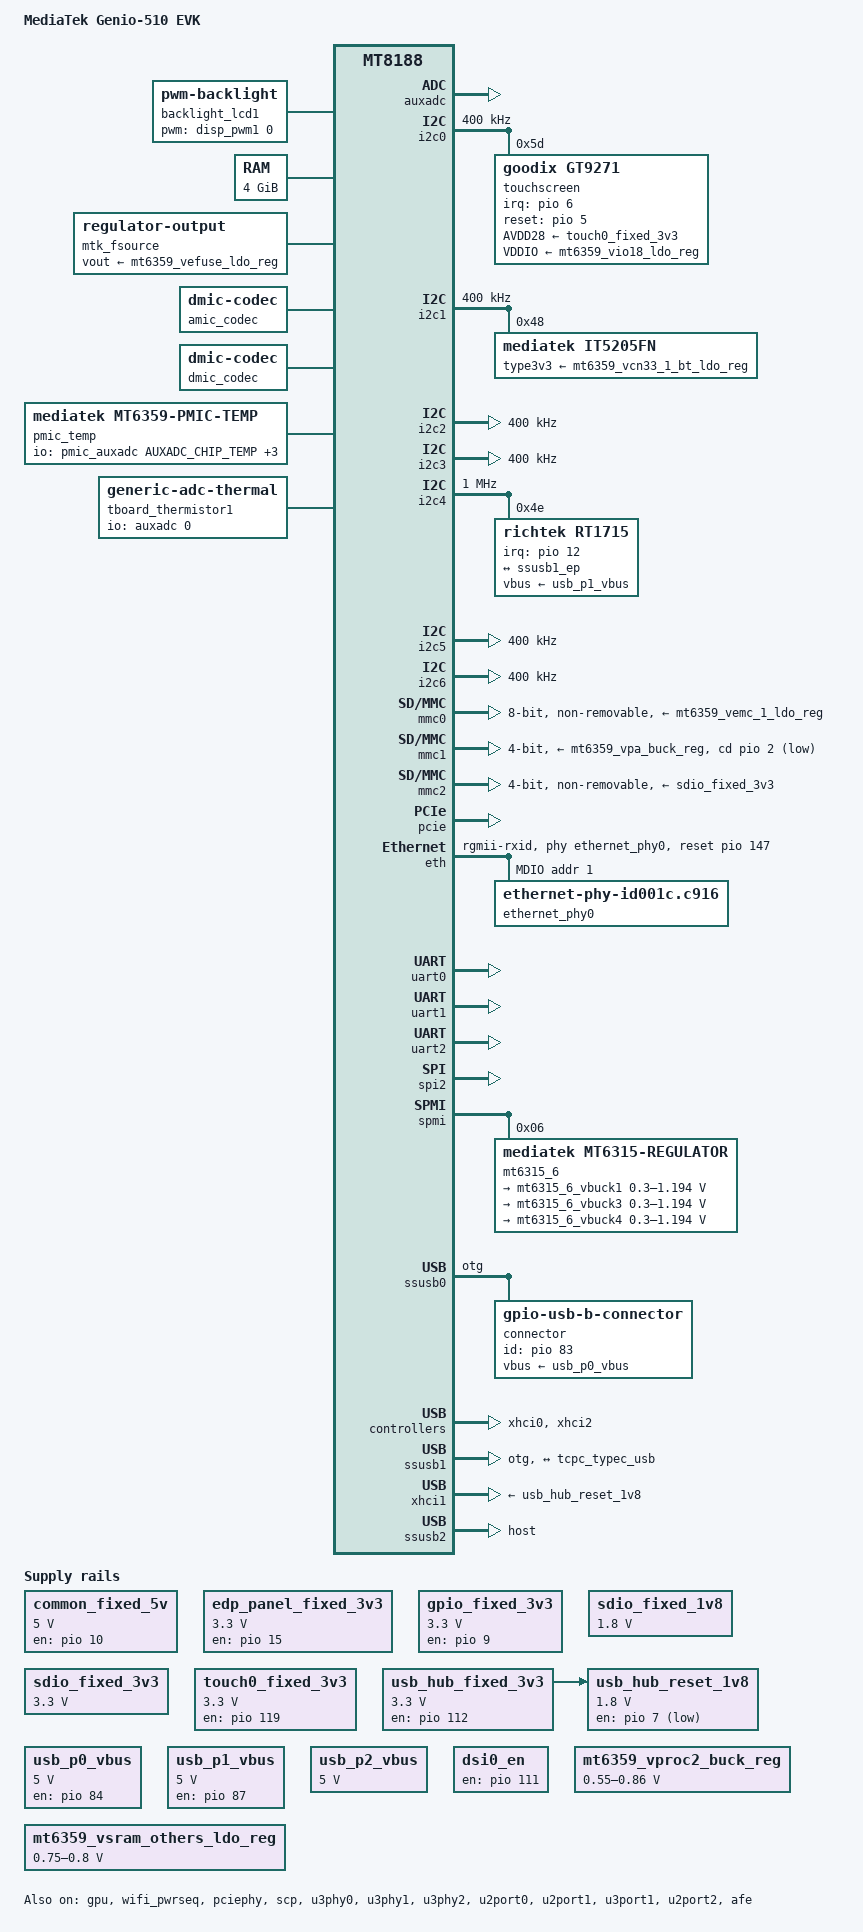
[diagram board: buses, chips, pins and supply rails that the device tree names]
// SPDX-License-Identifier: (GPL-2.0 OR MIT)
/*
 * Copyright (C) 2023 MediaTek Inc.
 * Author: Chris Chen <chris-qj.chen@mediatek.com>
 *	   Pablo Sun <pablo.sun@mediatek.com>
 *	   Macpaul Lin <macpaul.lin@mediatek.com>
 */
/dts-v1/;

#include "mt8370.dtsi"
#include "mt6359.dtsi"
#include <dt-bindings/gpio/gpio.h>
#include <dt-bindings/input/input.h>
#include <dt-bindings/interrupt-controller/irq.h>
#include <dt-bindings/pinctrl/mediatek,mt8188-pinfunc.h>
#include <dt-bindings/regulator/mediatek,mt6360-regulator.h>
#include <dt-bindings/spmi/spmi.h>
#include <dt-bindings/usb/pd.h>
#include <dt-bindings/iio/mt635x-auxadc.h>

/ {
	model = "MediaTek Genio-510 EVK";
	compatible = "mediatek,mt8370-evk", "mediatek,mt8370",
		     "mediatek,mt8188";

	aliases {
		ethernet0 = &eth;
		serial0 = &uart0;
		dsi0 = &dsi0;
	};

	backlight_lcd0: backlight-lcd0 {
		compatible = "pwm-backlight";
		pwms = <&disp_pwm0 0 500000>;
		enable-gpios = <&pio 8 GPIO_ACTIVE_HIGH>;
		brightness-levels = <0 1023>;
		num-interpolated-steps = <1023>;
		default-brightness-level = <576>;
		status = "disabled";
	};

	backlight_lcd1: backlight-lcd1 {
		compatible = "pwm-backlight";
		pwms = <&disp_pwm1 0 500000>;
		brightness-levels = <0 1023>;
		num-interpolated-steps = <1023>;
		default-brightness-level = <576>;
	};

	chosen {
		stdout-path = "serial0:921600n8";
	};

	firmware {
		optee {
			compatible = "linaro,optee-tz";
			method = "smc";
		};
	};

	memory@40000000 {
		device_type = "memory";
		reg = <0 0x40000000 0x1 0x00000000>;
	};

	reserved-memory {
		#address-cells = <2>;
		#size-cells = <2>;
		ranges;

		/*
		 * 12 MiB reserved for OP-TEE (BL32)
		 * +-----------------------+ 0x43e0_0000
		 * |      SHMEM 2MiB       |
		 * +-----------------------+ 0x43c0_0000
		 * |        | TA_RAM  8MiB |
		 * + TZDRAM +--------------+ 0x4340_0000
		 * |        | TEE_RAM 2MiB |
		 * +-----------------------+ 0x4320_0000
		 */
		optee_reserved: optee@43200000 {
			no-map;
			reg = <0 0x43200000 0 0x00c00000>;
		};

		scp_mem: memory@50000000 {
			compatible = "shared-dma-pool";
			reg = <0 0x50000000 0 0x2900000>;
			no-map;
		};

		/* 2 MiB reserved for ARM Trusted Firmware (BL31) */
		bl31_secmon_reserved: secmon@54600000 {
			no-map;
			reg = <0 0x54600000 0x0 0x200000>;
		};

		apu_mem: memory@55000000 {
			compatible = "shared-dma-pool";
			reg = <0 0x55000000 0 0x1400000>; /* 20 MB */
		};

		vpu_mem: memory@57000000 {
			compatible = "shared-dma-pool";
			reg = <0 0x57000000 0 0x1400000>; /* 20 MB */
		};

		/*
		 * 24 MiB reserved for Audio AFE and ADSP
		 * +-----------------------+ 0x6180_0000
		 * |  AFE DMA MEM     8MiB |
		 * +-----------------------+ 0x6100_0000
		 * |  ADSP DMA MEM    1MiB |
		 * +-----------------------+ 0x60f0_0000
		 * |  ADSP MEM       15MiB |
		 * +-----------------------+ 0x6000_0000
		 */

		adsp_mem_reserved: adsp-mem-region {
			compatible = "shared-dma-pool";
			reg = <0 0x60000000 0 0xf00000>;
			no-map;
		};

		adsp_dma_mem_reserved: adsp-dma-mem-region {
			compatible = "shared-dma-pool";
			reg = <0 0x60f00000 0 0x100000>;
			no-map;
		};

		afe_dma_mem_reserved: snd-dma-mem-region {
			compatible = "shared-dma-pool";
			reg = <0 0x61000000 0 0x800000>;
			no-map;
		};
	};

	common_fixed_5v: regulator-0 {
		compatible = "regulator-fixed";
		regulator-name = "5v_en";
		regulator-min-microvolt = <5000000>;
		regulator-max-microvolt = <5000000>;
		gpio = <&pio 10 GPIO_ACTIVE_HIGH>;
		enable-active-high;
		regulator-always-on;
	};

	edp_panel_fixed_3v3: regulator-1 {
		compatible = "regulator-fixed";
		regulator-name = "edp_panel_3v3";
		regulator-min-microvolt = <3300000>;
		regulator-max-microvolt = <3300000>;
		enable-active-high;
		gpio = <&pio 15 GPIO_ACTIVE_HIGH>;
		pinctrl-names = "default";
		pinctrl-0 = <&edp_panel_3v3_en_pins>;
	};

	gpio_fixed_3v3: regulator-2 {
		compatible = "regulator-fixed";
		regulator-name = "gpio_3v3_en";
		regulator-min-microvolt = <3300000>;
		regulator-max-microvolt = <3300000>;
		gpio = <&pio 9 GPIO_ACTIVE_HIGH>;
		enable-active-high;
		regulator-always-on;
	};

	sdio_fixed_1v8: regulator-3 {
		compatible = "regulator-fixed";
		regulator-name = "sdio_io";
		regulator-min-microvolt = <1800000>;
		regulator-max-microvolt = <1800000>;
		enable-active-high;
		regulator-always-on;
	};

	sdio_fixed_3v3: regulator-4 {
		compatible = "regulator-fixed";
		regulator-name = "sdio_card";
		regulator-min-microvolt = <3300000>;
		regulator-max-microvolt = <3300000>;
		enable-active-high;
		regulator-always-on;
	};

	mtk_fsource: mtk-fsource {
		compatible = "regulator-output";
		vout-supply = <&mt6359_vefuse_ldo_reg>;
	};

	touch0_fixed_3v3: regulator-5 {
		compatible = "regulator-fixed";
		regulator-name = "touch_3v3";
		regulator-min-microvolt = <3300000>;
		regulator-max-microvolt = <3300000>;
		gpio = <&pio 119 GPIO_ACTIVE_HIGH>;
		enable-active-high;
	};

	usb_hub_fixed_3v3: regulator-6 {
		compatible = "regulator-fixed";
		regulator-name = "usb_hub_3v3";
		regulator-min-microvolt = <3300000>;
		regulator-max-microvolt = <3300000>;
		gpio = <&pio 112 GPIO_ACTIVE_HIGH>; /* HUB_3V3_EN */
		startup-delay-us = <10000>;
		enable-active-high;
	};

	usb_hub_reset_1v8: regulator-7 {
		compatible = "regulator-fixed";
		regulator-name = "usb_hub_reset";
		regulator-min-microvolt = <1800000>;
		regulator-max-microvolt = <1800000>;
		gpio = <&pio 7 GPIO_ACTIVE_HIGH>; /* HUB_RESET */
		vin-supply = <&usb_hub_fixed_3v3>;
	};

	usb_p0_vbus: regulator-8 {
		compatible = "regulator-fixed";
		regulator-name = "usb_p0_vbus";
		regulator-min-microvolt = <5000000>;
		regulator-max-microvolt = <5000000>;
		gpio = <&pio 84 GPIO_ACTIVE_HIGH>;
		enable-active-high;
	};

	usb_p1_vbus: regulator-9 {
		compatible = "regulator-fixed";
		regulator-name = "usb_p1_vbus";
		regulator-min-microvolt = <5000000>;
		regulator-max-microvolt = <5000000>;
		gpio = <&pio 87 GPIO_ACTIVE_HIGH>;
		enable-active-high;
	};

	usb_p2_vbus: regulator-10 {
		compatible = "regulator-fixed";
		regulator-name = "usb_p2_vbus";
		regulator-min-microvolt = <5000000>;
		regulator-max-microvolt = <5000000>;
		enable-active-high;
	};

	dsi0_en: dsi0-en {
		compatible = "regulator-fixed";
		regulator-name = "lcm1_en";
		enable-active-high;
		gpio = <&pio 111 GPIO_ACTIVE_HIGH>;
		pinctrl-names = "default";
		pinctrl-0 = <&dsi0_en_pins_default>;
	};

	amic_codec: amic-codec {
		#sound-dai-cells = <0>;
		compatible = "dmic-codec";
		num-channels = <2>;
		wakeup-delay-ms = <200>;
	};

	dmic_codec: dmic-codec {
		#sound-dai-cells = <0>;
		compatible = "dmic-codec";
		num-channels = <2>;
		wakeup-delay-ms = <30>;
	};

	pmic_temp: pmic-temp {
		compatible = "mediatek,mt6359-pmic-temp";
		io-channels =
			<&pmic_auxadc AUXADC_CHIP_TEMP>,
			<&pmic_auxadc AUXADC_VCORE_TEMP>,
			<&pmic_auxadc AUXADC_VPROC_TEMP>,
			<&pmic_auxadc AUXADC_VGPU_TEMP>;
		io-channel-names =
			"pmic_chip_temp",
			"pmic_buck1_temp",
			"pmic_buck2_temp",
			"pmic_buck3_temp";

		#thermal-sensor-cells = <1>;
		nvmem-cells = <&thermal_efuse_data1>;
		nvmem-cell-names = "e_data1";
	};

	tboard_thermistor1: tboard-thermistor1 {
		compatible = "generic-adc-thermal";
		#thermal-sensor-cells = <0>;
		io-channels = <&auxadc 0>;
		io-channel-names = "sensor-channel";
		temperature-lookup-table = <    (-5000) 985
						0 860
						5000 740
						10000 629
						15000 530
						20000 442
						25000 367
						30000 304
						35000 251
						40000 207
						45000 171
						50000 141
						55000 117
						60000 97
						65000 81
						70000 67
						75000 56
						80000 47
						85000 40
						90000 34
						95000 29
						100000 25
						105000 21
						110000 18
						115000 15
						120000 13
						125000 12>;
	};
};

&thermal_zones {
	ap-ntc {
		polling-delay = <1000>; /* milliseconds */
		polling-delay-passive = <0>; /* milliseconds */
		thermal-sensors = <&tboard_thermistor1>;

		trips {
			ap_ntc_crit: ap-ntc-crit {
				temperature = <120000>;
				hysteresis = <2000>;
				type = "critical";
			};
		};
	};
	pmic-temp {
		polling-delay = <1000>; /* milliseconds */
		polling-delay-passive = <1000>; /* milliseconds */
		thermal-sensors = <&pmic_temp 0>;

		trips {
			pmic_temp_crit: pmic-temp-crit@0 {
				temperature = <130000>;
				hysteresis = <2000>;
				type = "critical";
			};
		};
	};
	pmic-vcore {
		polling-delay = <0>; /* milliseconds */
		polling-delay-passive = <0>; /* milliseconds */
		thermal-sensors = <&pmic_temp 1>;
		trips {
			pmic_vcore_crit: pmic-vcore-crit {
				temperature = <130000>;
				hysteresis = <2000>;
				type = "critical";
			};
		};
	};
	pmic-vproc {
		polling-delay = <0>; /* milliseconds */
		polling-delay-passive = <0>; /* milliseconds */
		thermal-sensors = <&pmic_temp 2>;
		trips {
			pmic_vproc_crit: pmic-vproc-crit {
				temperature = <130000>;
				hysteresis = <2000>;
				type = "critical";
			};
		};
	};
	pmic-vgpu {
		polling-delay = <0>; /* milliseconds */
		polling-delay-passive = <0>; /* milliseconds */
		thermal-sensors = <&pmic_temp 3>;
		trips {
			pmic_vgpu_crit: pmic-vgpu-crit {
				temperature = <130000>;
				hysteresis = <2000>;
				type = "critical";
			};
		};
	};
};

&auxadc {
	status = "okay";
};

&gpu {
	mali-supply = <&mt6359_vproc2_buck_reg>;
	status = "okay";
};

&i2c0 {
	pinctrl-names = "default";
	pinctrl-0 = <&i2c0_pins>;
	clock-frequency = <400000>;
	status = "okay";

	touchscreen@5d {
		compatible = "goodix,gt9271";
		reg = <0x5d>;
		interrupt-parent = <&pio>;
		interrupts-extended = <&pio 6 IRQ_TYPE_EDGE_RISING>;
		irq-gpios = <&pio 6 GPIO_ACTIVE_HIGH>;
		reset-gpios = <&pio 5 GPIO_ACTIVE_HIGH>;
		AVDD28-supply = <&touch0_fixed_3v3>;
		VDDIO-supply = <&mt6359_vio18_ldo_reg>;
		pinctrl-names = "default";
		pinctrl-0 = <&touch_pins>;
	};
};

&i2c1 {
	pinctrl-names = "default";
	pinctrl-0 = <&i2c1_pins>;
	clock-frequency = <400000>;
	status = "okay";

	it5205fn: it5205fn@48 {
		compatible = "mediatek,it5205fn";
		reg = <0x48>;
		type3v3-supply = <&mt6359_vcn33_1_bt_ldo_reg>;
		svid = /bits/ 16 <0xff01>;
		status = "okay";
	};
};

&i2c2 {
	pinctrl-names = "default";
	pinctrl-0 = <&i2c2_pins>;
	clock-frequency = <400000>;
	status = "okay";
};

&i2c3 {
	pinctrl-names = "default";
	pinctrl-0 = <&i2c3_pins>;
	clock-frequency = <400000>;
	status = "okay";
};

&i2c4 {
	pinctrl-names = "default", "default";
	pinctrl-0 = <&i2c4_pins>;
	pinctrl-1 = <&rt1715_int_pins>;
	clock-frequency = <1000000>;
	status = "okay";

	rt1715@4e {
		compatible = "richtek,rt1715";
		reg = <0x4e>;
		interrupts-extended = <&pio 12 IRQ_TYPE_LEVEL_LOW>;
		vbus-supply = <&usb_p1_vbus>;
		status = "okay";

		usb_con: connector {
			compatible = "usb-c-connector";
			label = "USB-C";
			data-role = "dual";
			power-role = "dual";
			try-power-role = "sink";
			source-pdos = <PDO_FIXED(5000, 2000, PDO_FIXED_DUAL_ROLE |
							PDO_FIXED_DATA_SWAP)>;
			sink-pdos = <PDO_FIXED(5000, 2000, PDO_FIXED_DUAL_ROLE |
							PDO_FIXED_DATA_SWAP)>;
			op-sink-microwatt = <10000000>;
			orientation-switch = <&it5205fn>;
			mode-switch = <&it5205fn>;
			displayport = <&dp_intf1>;

			altmodes {
				dp {
					svid = <0x0ff01>;
					vdo = <0x1c1c47>;
				};
			};

			ports {
				#address-cells = <1>;
				#size-cells = <0>;
				port@0 {
					reg = <0>;
					tcpc_typec_usb: endpoint {
							remote-endpoint = <&ssusb1_ep>;
					};
				};
			};

		};

		ports {
			#address-cells = <1>;
			#size-cells = <0>;

			port@0 {};
		};
	};
};

&i2c5 {
	pinctrl-names = "default";
	pinctrl-0 = <&i2c5_pins>;
	clock-frequency = <400000>;
	status = "okay";
};

&i2c6 {
	pinctrl-names = "default";
	pinctrl-0 = <&i2c6_pins>;
	clock-frequency = <400000>;
	status = "okay";
};

&mfg0 {
	domain-supply = <&mt6359_vproc2_buck_reg>;
};

&mfg1 {
	domain-supply = <&mt6359_vsram_others_ldo_reg>;
};

&mmc0 {
	status = "okay";
	pinctrl-names = "default", "state_uhs";
	pinctrl-0 = <&mmc0_default_pins>;
	pinctrl-1 = <&mmc0_uhs_pins>;
	bus-width = <8>;
	max-frequency = <200000000>;
	cap-mmc-highspeed;
	mmc-hs200-1_8v;
	mmc-hs400-1_8v;
	supports-cqe;
	cap-mmc-hw-reset;
	no-sdio;
	no-sd;
	hs400-ds-delay = <0x1481b>;
	vmmc-supply = <&mt6359_vemc_1_ldo_reg>;
	vqmmc-supply = <&mt6359_vufs_ldo_reg>;
	non-removable;
};

&mmc1 {
	status = "okay";
	pinctrl-names = "default", "state_uhs";
	pinctrl-0 = <&mmc1_default_pins>;
	pinctrl-1 = <&mmc1_uhs_pins>;
	bus-width = <4>;
	max-frequency = <200000000>;
	cap-sd-highspeed;
	sd-uhs-sdr50;
	sd-uhs-sdr104;
	no-mmc;
	no-sdio;
	cd-gpios = <&pio 2 GPIO_ACTIVE_LOW>;
	vmmc-supply = <&mt6359_vpa_buck_reg>;
	vqmmc-supply = <&mt6359_vsim1_ldo_reg>;
};

&wifi_pwrseq {
	status = "okay";
	pinctrl-names = "default";
	pinctrl-0 = <&wifi_pwrseq_pins>;

	reset-gpios = <&pio 72 1>;
	post-power-on-delay-ms = <200>;
};

&mmc2 {
	status = "okay";
	pinctrl-names = "default", "state_uhs", "state_eint",
			"state_dat1";
	pinctrl-0 = <&mmc2_default_pins>;
	pinctrl-1 = <&mmc2_uhs_pins>;
	pinctrl-2 = <&mmc2_eint_pins>;
	pinctrl-3 = <&mmc2_dat1_pins>;
	eint-gpios = <&pio 172 0>;
	bus-width = <4>;
	max-frequency = <200000000>;
	cap-sd-highspeed;
	sd-uhs-sdr104;
	keep-power-in-suspend;
	enable-sdio-wakeup;
	cap-sdio-async-int;
	cap-sdio-irq;
	no-mmc;
	no-sd;
	non-removable;
	vmmc-supply = <&sdio_fixed_3v3>;
	vqmmc-supply = <&sdio_fixed_1v8>;
	mmc-pwrseq = <&wifi_pwrseq>;
};

&mt6359_vbbck_ldo_reg {
	regulator-always-on;
};

&mt6359_vcn18_ldo_reg {
	regulator-always-on;
};

&mt6359_vcn33_2_bt_ldo_reg {
	regulator-always-on;
};

&mt6359_vcore_buck_reg {
	regulator-always-on;
};

&mt6359_vgpu11_buck_reg {
	regulator-always-on;
};

&mt6359_vmodem_buck_reg {
	regulator-always-on;
};

&mt6359_vpa_buck_reg {
	regulator-max-microvolt = <3100000>;
};

&mt6359_vproc2_buck_reg {
	/* The name "vgpu" is required by mtk-regulator-coupler */
	regulator-name = "vgpu";
	regulator-min-microvolt = <550000>;
	regulator-max-microvolt = <860000>;
	regulator-coupled-with = <&mt6359_vsram_others_ldo_reg>;
	regulator-coupled-max-spread = <6250>;
};

&mt6359_vpu_buck_reg {
	regulator-always-on;
};

&mt6359_vrf12_ldo_reg {
	regulator-always-on;
};

&mt6359_vsim1_ldo_reg {
	regulator-enable-ramp-delay = <480>;
};

&mt6359_vsram_others_ldo_reg {
	/* The name "vsram_gpu" is required by mtk-regulator-coupler */
	regulator-name = "vsram_gpu";
	regulator-min-microvolt = <750000>;
	regulator-max-microvolt = <800000>;
	regulator-coupled-with = <&mt6359_vproc2_buck_reg>;
	regulator-coupled-max-spread = <6250>;
};

&mt6359_vsram_md_ldo_reg {
	regulator-always-on;
};

&mt6359_vufs_ldo_reg {
	regulator-always-on;
};

&mt6359codec {
	mediatek,mic-type-0 = <1>; /* ACC */
	mediatek,mic-type-1 = <3>; /* DCC */
};

&pcie {
	pinctrl-names = "default";
	pinctrl-0 = <&pcie_pins_default>;
	status = "okay";
};

&pciephy {
	status = "okay";
};

&eth {
	phy-mode ="rgmii-rxid";
	phy-handle = <&ethernet_phy0>;
	snps,reset-gpio = <&pio 147 GPIO_ACTIVE_HIGH>;
	snps,reset-delay-us = <0 10000 10000>;
	mediatek,tx-delay-ps = <2030>;
	mediatek,mac-wol;
	pinctrl-names = "default", "sleep";
	pinctrl-0 = <&eth_default_pins>;
	pinctrl-1 = <&eth_sleep_pins>;
	status = "okay";

	mdio {
		compatible = "snps,dwmac-mdio";
		#address-cells = <1>;
		#size-cells = <0>;
		ethernet_phy0: ethernet-phy@1 {
			compatible = "ethernet-phy-id001c.c916";
			reg = <0x1>;
		};
	};
};

&dp_intf1 {
	status = "disabled";
	mediatek,oob-hpd;
	ports {
		port {
			dp_intf1_out: endpoint {
				remote-endpoint = <&dptx_in>;
			};
		};
	};
};

&dp_tx {
	pinctrl-names = "default";
	pinctrl-0 = <&dptx_pins>;
	status = "disabled";

	ports {
		#address-cells = <1>;
		#size-cells = <0>;
		port@0 {
			reg = <0>;
			dptx_in: endpoint {
				remote-endpoint = <&dp_intf1_out>;
			};
		};

		port@1 {
			reg = <1>;
			dptx_out: endpoint {
				data-lanes = <0 1 2 3>;
			};
		};
	};
};

&dsi0 {
	#address-cells = <1>;
	#size-cells = <0>;
	status = "disabled";
	poweron-in-hs-mode = <0>;

	panel@0 {
		compatible = "startek,kd070fhfid078";
		status = "disabled";
		reg = <0>;
		pinctrl-names = "default";
		pinctrl-0 = <&panel_pins_default>;
		backlight = <&backlight_lcd1>;
		reset-gpios = <&pio 25 GPIO_ACTIVE_HIGH>;
		enable-gpios = <&pio 45 GPIO_ACTIVE_HIGH>;
		iovcc-supply = <&dsi0_en>;
		port {
			panel0_in: endpoint {
				remote-endpoint = <&dsi0_out>;
			};
		};
	};

	ports {
		port {
			dsi0_out: endpoint {
				remote-endpoint = <&panel0_in>;
			};
		};
	};
};

&disp_pwm1 {
	pinctrl-names = "default";
	pinctrl-0 = <&disp_pwm1_pin_default>;
	status = "disabled";
};

&pio {
	audio_default_pins: audio-default-pins {
		pins-cmd-dat {
			pinmux = <PINMUX_GPIO101__FUNC_O_AUD_CLK_MOSI>,
				 <PINMUX_GPIO102__FUNC_O_AUD_SYNC_MOSI>,
				 <PINMUX_GPIO103__FUNC_O_AUD_DAT_MOSI0>,
				 <PINMUX_GPIO104__FUNC_O_AUD_DAT_MOSI1>,
				 <PINMUX_GPIO105__FUNC_I0_AUD_DAT_MISO0>,
				 <PINMUX_GPIO106__FUNC_I0_AUD_DAT_MISO1>,
				 <PINMUX_GPIO107__FUNC_B0_I2SIN_MCK>,
				 <PINMUX_GPIO108__FUNC_B0_I2SIN_BCK>,
				 <PINMUX_GPIO109__FUNC_B0_I2SIN_WS>,
				 <PINMUX_GPIO110__FUNC_I0_I2SIN_D0>,
				 <PINMUX_GPIO114__FUNC_O_I2SO2_MCK>,
				 <PINMUX_GPIO115__FUNC_B0_I2SO2_BCK>,
				 <PINMUX_GPIO116__FUNC_B0_I2SO2_WS>,
				 <PINMUX_GPIO117__FUNC_O_I2SO2_D0>,
				 <PINMUX_GPIO118__FUNC_O_I2SO2_D1>,
				 <PINMUX_GPIO121__FUNC_B0_PCM_CLK>,
				 <PINMUX_GPIO122__FUNC_B0_PCM_SYNC>,
				 <PINMUX_GPIO124__FUNC_I0_PCM_DI>,
				 <PINMUX_GPIO125__FUNC_O_DMIC1_CLK>,
				 <PINMUX_GPIO126__FUNC_I0_DMIC1_DAT>,
				 <PINMUX_GPIO128__FUNC_O_DMIC2_CLK>,
				 <PINMUX_GPIO129__FUNC_I0_DMIC2_DAT>;
		};
	};

	dptx_pins: dptx-pins {
		pins-cmd-dat {
			pinmux = <PINMUX_GPIO46__FUNC_I0_DP_TX_HPD>;
			bias-pull-up;
		};
	};

	edp_panel_3v3_en_pins: edp-panel-3v3-en-pins {
		pins1 {
			pinmux = <PINMUX_GPIO15__FUNC_B_GPIO15>;
			output-high;
		};
	};

	eth_default_pins: eth-default-pins {
		pins-cc {
			pinmux = <PINMUX_GPIO139__FUNC_B0_GBE_TXC>,
				 <PINMUX_GPIO140__FUNC_I0_GBE_RXC>,
				 <PINMUX_GPIO141__FUNC_I0_GBE_RXDV>,
				 <PINMUX_GPIO142__FUNC_O_GBE_TXEN>;
			drive-strength = <MTK_DRIVE_8mA>;
		};

		pins-mdio {
			pinmux = <PINMUX_GPIO143__FUNC_O_GBE_MDC>,
				 <PINMUX_GPIO144__FUNC_B1_GBE_MDIO>;
			drive-strength = <MTK_DRIVE_8mA>;
			input-enable;
		};

		pins-power {
			pinmux = <PINMUX_GPIO145__FUNC_B_GPIO145>,
				 <PINMUX_GPIO146__FUNC_B_GPIO146>;
			output-high;
		};

		pins-rxd {
			pinmux = <PINMUX_GPIO135__FUNC_I0_GBE_RXD3>,
				 <PINMUX_GPIO136__FUNC_I0_GBE_RXD2>,
				 <PINMUX_GPIO137__FUNC_I0_GBE_RXD1>,
				 <PINMUX_GPIO138__FUNC_I0_GBE_RXD0>;
			drive-strength = <MTK_DRIVE_8mA>;
		};

		pins-txd {
			pinmux = <PINMUX_GPIO131__FUNC_O_GBE_TXD3>,
				 <PINMUX_GPIO132__FUNC_O_GBE_TXD2>,
				 <PINMUX_GPIO133__FUNC_O_GBE_TXD1>,
				 <PINMUX_GPIO134__FUNC_O_GBE_TXD0>;
			drive-strength = <MTK_DRIVE_8mA>;
		};
	};

	eth_sleep_pins: eth-sleep-pins {
		pins-cc {
			pinmux = <PINMUX_GPIO139__FUNC_B_GPIO139>,
				 <PINMUX_GPIO140__FUNC_B_GPIO140>,
				 <PINMUX_GPIO141__FUNC_B_GPIO141>,
				 <PINMUX_GPIO142__FUNC_B_GPIO142>;
		};

		pins-mdio {
			pinmux = <PINMUX_GPIO143__FUNC_B_GPIO143>,
				 <PINMUX_GPIO144__FUNC_B_GPIO144>;
			input-disable;
			bias-disable;
		};

		pins-rxd {
			pinmux = <PINMUX_GPIO135__FUNC_B_GPIO135>,
				 <PINMUX_GPIO136__FUNC_B_GPIO136>,
				 <PINMUX_GPIO137__FUNC_B_GPIO137>,
				 <PINMUX_GPIO138__FUNC_B_GPIO138>;
		};

		pins-txd {
			pinmux = <PINMUX_GPIO131__FUNC_B_GPIO131>,
				 <PINMUX_GPIO132__FUNC_B_GPIO132>,
				 <PINMUX_GPIO133__FUNC_B_GPIO133>,
				 <PINMUX_GPIO134__FUNC_B_GPIO134>;
		};
	};

	i2c0_pins: i2c0-pins {
		pins {
			pinmux = <PINMUX_GPIO56__FUNC_B1_SDA0>,
				 <PINMUX_GPIO55__FUNC_B1_SCL0>;
			bias-pull-up = <MTK_PULL_SET_RSEL_011>;
			drive-strength-microamp = <1000>;
		};
	};

	i2c1_pins: i2c1-pins {
		pins {
			pinmux = <PINMUX_GPIO58__FUNC_B1_SDA1>,
				 <PINMUX_GPIO57__FUNC_B1_SCL1>;
			bias-pull-up = <MTK_PULL_SET_RSEL_011>;
			drive-strength-microamp = <1000>;
		};
	};

	i2c2_pins: i2c2-pins {
		pins {
			pinmux = <PINMUX_GPIO60__FUNC_B1_SDA2>,
				 <PINMUX_GPIO59__FUNC_B1_SCL2>;
			bias-pull-up = <MTK_PULL_SET_RSEL_011>;
			drive-strength-microamp = <1000>;
		};
	};

	i2c3_pins: i2c3-pins {
		pins {
			pinmux = <PINMUX_GPIO62__FUNC_B1_SDA3>,
				 <PINMUX_GPIO61__FUNC_B1_SCL3>;
			bias-pull-up = <MTK_PULL_SET_RSEL_011>;
			drive-strength-microamp = <1000>;
		};
	};

	i2c4_pins: i2c4-pins {
		pins {
			pinmux = <PINMUX_GPIO64__FUNC_B1_SDA4>,
				 <PINMUX_GPIO63__FUNC_B1_SCL4>;
			bias-pull-up = <MTK_PULL_SET_RSEL_011>;
			drive-strength-microamp = <1000>;
		};
	};

	i2c5_pins: i2c5-pins {
		pins {
			pinmux = <PINMUX_GPIO66__FUNC_B1_SDA5>,
				 <PINMUX_GPIO65__FUNC_B1_SCL5>;
			bias-pull-up = <MTK_PULL_SET_RSEL_011>;
			drive-strength-microamp = <1000>;
		};
	};

	i2c6_pins: i2c6-pins {
		pins {
			pinmux = <PINMUX_GPIO68__FUNC_B1_SDA6>,
				 <PINMUX_GPIO67__FUNC_B1_SCL6>;
			bias-pull-up = <MTK_PULL_SET_RSEL_011>;
			drive-strength-microamp = <1000>;
		};
	};

	pcie_pins_default: pcie-default {
		mux {
			pinmux = <PINMUX_GPIO47__FUNC_I1_WAKEN>,
				 <PINMUX_GPIO48__FUNC_O_PERSTN>,
				 <PINMUX_GPIO49__FUNC_B1_CLKREQN>;
			bias-pull-up;
		};
	};

	gpio_key_pins: gpio-key-pins {
		pins {
			pinmux = <PINMUX_GPIO42__FUNC_B1_KPCOL0>,
				 <PINMUX_GPIO43__FUNC_B1_KPCOL1>,
				 <PINMUX_GPIO44__FUNC_B1_KPROW0>;
		};
	};

	panel_pins_default: panel-pins-default {
		panel-dcdc {
			pinmux = <PINMUX_GPIO45__FUNC_B_GPIO45>;
			output-low;
		};

		panel-rst {
			pinmux = <PINMUX_GPIO25__FUNC_B_GPIO25>;
			output-high;
		};
	};

	dsi0_en_pins_default: dsi0-en-pins-default {
		panel-en {
			pinmux = <PINMUX_GPIO111__FUNC_B_GPIO111>;
			output-low;
		};
	};

	disp_pwm1_pin_default: disp-pwm1-pin-default {
		pins1 {
			pinmux = <PINMUX_GPIO30__FUNC_O_DISP_PWM1>;
		};
	};

	mmc0_default_pins: mmc0-default-pins {
		pins-clk {
			pinmux = <PINMUX_GPIO157__FUNC_B1_MSDC0_CLK>;
			drive-strength = <MTK_DRIVE_6mA>;
			bias-pull-down = <MTK_PUPD_SET_R1R0_10>;
		};

		pins-cmd-dat {
			pinmux = <PINMUX_GPIO161__FUNC_B1_MSDC0_DAT0>,
				 <PINMUX_GPIO160__FUNC_B1_MSDC0_DAT1>,
				 <PINMUX_GPIO159__FUNC_B1_MSDC0_DAT2>,
				 <PINMUX_GPIO158__FUNC_B1_MSDC0_DAT3>,
				 <PINMUX_GPIO154__FUNC_B1_MSDC0_DAT4>,
				 <PINMUX_GPIO153__FUNC_B1_MSDC0_DAT5>,
				 <PINMUX_GPIO152__FUNC_B1_MSDC0_DAT6>,
				 <PINMUX_GPIO151__FUNC_B1_MSDC0_DAT7>,
				 <PINMUX_GPIO156__FUNC_B1_MSDC0_CMD>;
			input-enable;
			drive-strength = <MTK_DRIVE_6mA>;
			bias-pull-up = <MTK_PUPD_SET_R1R0_01>;
		};

		pins-rst {
			pinmux = <PINMUX_GPIO155__FUNC_O_MSDC0_RSTB>;
			drive-strength = <MTK_DRIVE_6mA>;
			bias-pull-up = <MTK_PUPD_SET_R1R0_01>;
		};
	};

	mmc0_uhs_pins: mmc0-uhs-pins {
		pins-clk {
			pinmux = <PINMUX_GPIO157__FUNC_B1_MSDC0_CLK>;
			drive-strength = <MTK_DRIVE_8mA>;
			bias-pull-down = <MTK_PUPD_SET_R1R0_10>;
		};

		pins-cmd-dat {
			pinmux = <PINMUX_GPIO161__FUNC_B1_MSDC0_DAT0>,
				 <PINMUX_GPIO160__FUNC_B1_MSDC0_DAT1>,
				 <PINMUX_GPIO159__FUNC_B1_MSDC0_DAT2>,
				 <PINMUX_GPIO158__FUNC_B1_MSDC0_DAT3>,
				 <PINMUX_GPIO154__FUNC_B1_MSDC0_DAT4>,
				 <PINMUX_GPIO153__FUNC_B1_MSDC0_DAT5>,
				 <PINMUX_GPIO152__FUNC_B1_MSDC0_DAT6>,
				 <PINMUX_GPIO151__FUNC_B1_MSDC0_DAT7>,
				 <PINMUX_GPIO156__FUNC_B1_MSDC0_CMD>;
			input-enable;
			drive-strength = <MTK_DRIVE_8mA>;
			bias-pull-up = <MTK_PUPD_SET_R1R0_01>;
		};

		pins-ds {
			pinmux = <PINMUX_GPIO162__FUNC_B0_MSDC0_DSL>;
			drive-strength = <MTK_DRIVE_8mA>;
			bias-pull-down = <MTK_PUPD_SET_R1R0_10>;
		};

		pins-rst {
			pinmux = <PINMUX_GPIO155__FUNC_O_MSDC0_RSTB>;
			drive-strength = <MTK_DRIVE_8mA>;
			bias-pull-up = <MTK_PUPD_SET_R1R0_01>;
		};
	};

	mmc1_default_pins: mmc1-default-pins {
		pins-clk {
			pinmux = <PINMUX_GPIO164__FUNC_B1_MSDC1_CLK>;
			drive-strength = <MTK_DRIVE_6mA>;
			bias-pull-down = <MTK_PUPD_SET_R1R0_10>;
		};

		pins-cmd-dat {
			pinmux = <PINMUX_GPIO163__FUNC_B1_MSDC1_CMD>,
				 <PINMUX_GPIO165__FUNC_B1_MSDC1_DAT0>,
				 <PINMUX_GPIO166__FUNC_B1_MSDC1_DAT1>,
				 <PINMUX_GPIO167__FUNC_B1_MSDC1_DAT2>,
				 <PINMUX_GPIO168__FUNC_B1_MSDC1_DAT3>;
			input-enable;
			drive-strength = <MTK_DRIVE_6mA>;
			bias-pull-up = <MTK_PUPD_SET_R1R0_01>;
		};

		pins-insert {
			pinmux = <PINMUX_GPIO2__FUNC_B_GPIO2>;
			bias-pull-up;
		};
	};

	mmc1_uhs_pins: mmc1-uhs-pins {
		pins-clk {
			pinmux = <PINMUX_GPIO164__FUNC_B1_MSDC1_CLK>;
			drive-strength = <MTK_DRIVE_6mA>;
			bias-pull-down = <MTK_PUPD_SET_R1R0_10>;
		};

		pins-cmd-dat {
			pinmux = <PINMUX_GPIO163__FUNC_B1_MSDC1_CMD>,
				 <PINMUX_GPIO165__FUNC_B1_MSDC1_DAT0>,
				 <PINMUX_GPIO166__FUNC_B1_MSDC1_DAT1>,
				 <PINMUX_GPIO167__FUNC_B1_MSDC1_DAT2>,
				 <PINMUX_GPIO168__FUNC_B1_MSDC1_DAT3>;
			input-enable;
			drive-strength = <MTK_DRIVE_6mA>;
			bias-pull-up = <MTK_PUPD_SET_R1R0_01>;
		};
	};

	mmc2_default_pins: mmc2-default-pins {
		pins-clk {
			pinmux = <PINMUX_GPIO170__FUNC_B1_MSDC2_CLK>;
			drive-strength = <MTK_DRIVE_4mA>;
			bias-pull-down = <MTK_PUPD_SET_R1R0_10>;
		};

		pins-cmd-dat {
			pinmux = <PINMUX_GPIO169__FUNC_B1_MSDC2_CMD>,
				 <PINMUX_GPIO171__FUNC_B1_MSDC2_DAT0>,
				 <PINMUX_GPIO172__FUNC_B1_MSDC2_DAT1>,
				 <PINMUX_GPIO173__FUNC_B1_MSDC2_DAT2>,
				 <PINMUX_GPIO174__FUNC_B1_MSDC2_DAT3>;
			input-enable;
			drive-strength = <MTK_DRIVE_6mA>;
			bias-pull-up = <MTK_PUPD_SET_R1R0_01>;
		};

		pins-pcm {
			pinmux = <PINMUX_GPIO123__FUNC_O_PCM_DO>;
		};

		wcn-3v3-en {
			pinmux = <PINMUX_GPIO74__FUNC_B_GPIO74>;
			output-high;
		};

	};

	mmc2_uhs_pins: mmc2-uhs-pins {
		pins-clk {
			pinmux = <PINMUX_GPIO170__FUNC_B1_MSDC2_CLK>;
			drive-strength = <MTK_DRIVE_4mA>;
			bias-pull-down = <MTK_PUPD_SET_R1R0_10>;
		};

		pins-cmd-dat {
			pinmux = <PINMUX_GPIO169__FUNC_B1_MSDC2_CMD>,
				 <PINMUX_GPIO171__FUNC_B1_MSDC2_DAT0>,
				 <PINMUX_GPIO172__FUNC_B1_MSDC2_DAT1>,
				 <PINMUX_GPIO173__FUNC_B1_MSDC2_DAT2>,
				 <PINMUX_GPIO174__FUNC_B1_MSDC2_DAT3>;
			input-enable;
			drive-strength = <MTK_DRIVE_6mA>;
			bias-pull-up = <MTK_PUPD_SET_R1R0_01>;
		};
	};

	mmc2_eint_pins: mmc2-eint-pins {
		pins-dat1 {
			pinmux = <PINMUX_GPIO172__FUNC_B_GPIO172>;
			input-enable;
			bias-pull-up = <MTK_PUPD_SET_R1R0_01>;
		};
	};

	mmc2_dat1_pins: mmc2-dat1-pins {
		pins-dat1 {
			pinmux = <PINMUX_GPIO172__FUNC_B1_MSDC2_DAT1>;
			input-enable;
			drive-strength = <MTK_DRIVE_6mA>;
			bias-pull-up = <MTK_PUPD_SET_R1R0_01>;
		};
	};

	panel_default_pins: panel-default-pins {
		pins-dcdc {
			pinmux = <PINMUX_GPIO45__FUNC_B_GPIO45>;
			output-low;
		};

		pins-en {
			pinmux = <PINMUX_GPIO111__FUNC_B_GPIO111>;
			output-low;
		};

		pins-rst {
			pinmux = <PINMUX_GPIO25__FUNC_B_GPIO25>;
			output-high;
		};
	};

	rt1715_int_pins: rt1715-int-pins {
		pins_cmd0_dat {
			pinmux = <PINMUX_GPIO12__FUNC_B_GPIO12>;
			bias-pull-up;
			input-enable;
		};
	};

	spi0_pins: spi0-pins {
		pins-spi {
			pinmux = <PINMUX_GPIO69__FUNC_O_SPIM0_CSB>,
				<PINMUX_GPIO70__FUNC_O_SPIM0_CLK>,
				<PINMUX_GPIO71__FUNC_B0_SPIM0_MOSI>,
				<PINMUX_GPIO72__FUNC_B0_SPIM0_MISO>;
			bias-disable;
		};
	};

	spi1_pins: spi1-pins {
		pins-spi {
			pinmux = <PINMUX_GPIO75__FUNC_O_SPIM1_CSB>,
				<PINMUX_GPIO76__FUNC_O_SPIM1_CLK>,
				<PINMUX_GPIO77__FUNC_B0_SPIM1_MOSI>,
				<PINMUX_GPIO78__FUNC_B0_SPIM1_MISO>;
			bias-disable;
		};
	};

	spi2_pins: spi2-pins {
		pins-spi {
			pinmux = <PINMUX_GPIO79__FUNC_O_SPIM2_CSB>,
				<PINMUX_GPIO80__FUNC_O_SPIM2_CLK>,
				<PINMUX_GPIO81__FUNC_B0_SPIM2_MOSI>,
				<PINMUX_GPIO82__FUNC_B0_SPIM2_MISO>;
			bias-disable;
		};
	};

	touch_pins: touch-pins {
		pins-irq {
			pinmux = <PINMUX_GPIO6__FUNC_B_GPIO6>;
			input-enable;
			bias-disable;
		};

		pins-reset {
			pinmux = <PINMUX_GPIO5__FUNC_B_GPIO5>;
			output-high;
		};
	};

	uart0_pins: uart0-pins {
		pins {
			pinmux = <PINMUX_GPIO31__FUNC_O_UTXD0>,
				 <PINMUX_GPIO32__FUNC_I1_URXD0>;
			bias-pull-up;
		};
	};

	uart1_pins: uart1-pins {
		pins {
			pinmux = <PINMUX_GPIO33__FUNC_O_UTXD1>,
				 <PINMUX_GPIO34__FUNC_I1_URXD1>;
			bias-pull-up;
		};
	};

	uart2_pins: uart2-pins {
		pins {
			pinmux = <PINMUX_GPIO35__FUNC_O_UTXD2>,
				 <PINMUX_GPIO36__FUNC_I1_URXD2>;
			bias-pull-up;
		};
	};

	usb_default_pins: usb-default-pins {
		pins-iddig {
			pinmux = <PINMUX_GPIO83__FUNC_B_GPIO83>;
			input-enable;
			bias-pull-up;
		};

		pins-valid {
			pinmux = <PINMUX_GPIO85__FUNC_I0_VBUSVALID>;
			input-enable;
		};

		pins-vbus {
			pinmux = <PINMUX_GPIO84__FUNC_O_USB_DRVVBUS>;
			output-high;
		};

	};

	usb1_default_pins: usb1-default-pins {
		pins-valid {
			pinmux = <PINMUX_GPIO88__FUNC_I0_VBUSVALID_1P>;
			input-enable;
		};

		pins-usb-hub-3v3-en {
			pinmux = <PINMUX_GPIO112__FUNC_B_GPIO112>;
			output-high;
		};
	};

	wifi_pwrseq_pins: wifi-pwrseq-pins {
		pins-wifi-enable {
			pinmux = <PINMUX_GPIO72__FUNC_B_GPIO72>;
			output-low;
		};
	};
};

&pmic {
	interrupt-parent = <&pio>;
	interrupts = <222 IRQ_TYPE_LEVEL_HIGH>;
};

&scp {
	memory-region = <&scp_mem>;
	status = "okay";
	firmware-name = "mediatek/mt8188/scp.img";
};

&uart0 {
	pinctrl-0 = <&uart0_pins>;
	pinctrl-names = "default";
	status = "okay";
};

&uart1 {
	pinctrl-0 = <&uart1_pins>;
	pinctrl-names = "default";
	status = "okay";
};

&uart2 {
	pinctrl-0 = <&uart2_pins>;
	pinctrl-names = "default";
	status = "okay";
};

&mipi_tx0 {
	status = "disabled";
};

&spi2 {
	pinctrl-0 = <&spi2_pins>;
	pinctrl-names = "default";
	mediatek,pad-select = <0>;
	#address-cells = <1>;
	#size-cells = <0>;
	status = "okay";
};

&spmi {
	#address-cells = <2>;
	#size-cells = <0>;

	mt6315_6: mt6315@6 {
		compatible = "mediatek,mt6315-regulator";
		reg = <0x6 SPMI_USID>;

		regulators {
			mt6315_6_vbuck1: vbuck1 {
				regulator-compatible = "vbuck1";
				regulator-name = "Vbcpu";
				regulator-min-microvolt = <300000>;
				regulator-max-microvolt = <1193750>;
				regulator-enable-ramp-delay = <256>;
				regulator-allowed-modes = <0 1 2>;
				regulator-always-on;
				mtk,combined-regulator = <2>;
			};
			mt6315_6_vbuck3: vbuck3 {
				regulator-compatible = "vbuck3";
				regulator-name = "Vdd2";
				regulator-min-microvolt = <300000>;
				regulator-max-microvolt = <1193750>;
				regulator-enable-ramp-delay = <256>;
				regulator-allowed-modes = <0 1 2>;
				regulator-always-on;
			};
			mt6315_6_vbuck4: vbuck4 {
				regulator-compatible = "vbuck4";
				regulator-name = "Vddq";
				regulator-min-microvolt = <300000>;
				regulator-max-microvolt = <1193750>;
				regulator-enable-ramp-delay = <256>;
				regulator-allowed-modes = <0 1 2>;
				regulator-always-on;
			};
		};
	};
};

&u3phy0 {
	status = "okay";
};

&u3phy1 {
	status = "okay";
};

&u3phy2 {
	status = "okay";
};

&ssusb0 {
	pinctrl-0 = <&usb_default_pins>;
	pinctrl-names = "default";
	maximum-speed = "high-speed";
	usb-role-switch;
	dr_mode = "otg";
	vusb33-supply = <&mt6359_vusb_ldo_reg>;
	status = "okay";
	wakeup-source;

	connector {
		compatible = "gpio-usb-b-connector", "usb-b-connector";
		type = "micro";
		id-gpios = <&pio 83 GPIO_ACTIVE_HIGH>;
		vbus-supply = <&usb_p0_vbus>;
	};
};

&u2port0 {
	status = "okay";
};

&xhci0 {
	status = "okay";
	vusb33-supply = <&mt6359_vusb_ldo_reg>;
};

&ssusb1 {
	pinctrl-0 = <&usb1_default_pins>;
	pinctrl-names = "default";
	vusb33-supply = <&mt6359_vusb_ldo_reg>;
	dr_mode = "otg";
	mediatek,usb3-drd;
	usb-role-switch;
	status = "okay";
	wakeup-source;

	port {
		ssusb1_ep: endpoint {
			remote-endpoint = <&tcpc_typec_usb>;
		};
	};
};

&u2port1 {
	status = "okay";
};

&u3port1 {
	status = "okay";
};

&xhci1 {
	status = "okay";
	vusb33-supply = <&mt6359_vusb_ldo_reg>;
	vbus-supply = <&usb_hub_reset_1v8>;
};

&ssusb2 {
	maximum-speed = "high-speed";
	usb-role-switch;
	dr_mode = "host";
	vusb33-supply = <&mt6359_vusb_ldo_reg>;
	status = "okay";
	wakeup-source;
};

&u2port2 {
	status = "okay";
};

&xhci2 {
	status = "okay";
	vusb33-supply = <&mt6359_vusb_ldo_reg>;
};

&cam_vcore {
	domain-supply = <&mt6359_vproc1_buck_reg>;
};

&img_vcore {
	domain-supply = <&mt6359_vproc1_buck_reg>;
};

&accdet {
	mediatek,eint-level-pol = <IRQ_TYPE_LEVEL_LOW>;
};

&afe {
	#sound-dai-cells = <0>;
	memory-region = <&afe_dma_mem_reserved>;
	mediatek,dmic-iir-on;
	mediatek,dmic-clk-mono;
	status = "okay";
};

&adsp {
	memory-region = <&adsp_dma_mem_reserved>,
		<&adsp_mem_reserved>;
};

&sound {
	compatible = "mediatek,mt8188-mt6359";
	model = "mt8370-evk";
	pinctrl-names = "default";
	pinctrl-0 = <&audio_default_pins>;
	audio-routing =
		"Headphone", "Headphone L",
		"Headphone", "Headphone R",
		"AIN1", "Headset Mic",
		"DMIC_INPUT", "AP DMIC",
		"AP DMIC", "AUDGLB",
		"AP DMIC", "MIC_BIAS_0",
		"AP DMIC", "MIC_BIAS_2";
	status = "okay";

	dai-link-0 {
		sound-dai = <&afe>;
		link-name = "DL_SRC_BE";

		codec {
			sound-dai = <&pmic 0>, <&accdet>;
		};
	};

	dai-link-1 {
		sound-dai = <&afe>;
		link-name = "UL_SRC_BE";

		codec {
			sound-dai = <&pmic 0>, <&amic_codec>;
		};
	};

	dai-link-2 {
		sound-dai = <&afe>;
		link-name = "DMIC_BE";

		codec {
			sound-dai = <&dmic_codec>;
		};
	};
};
